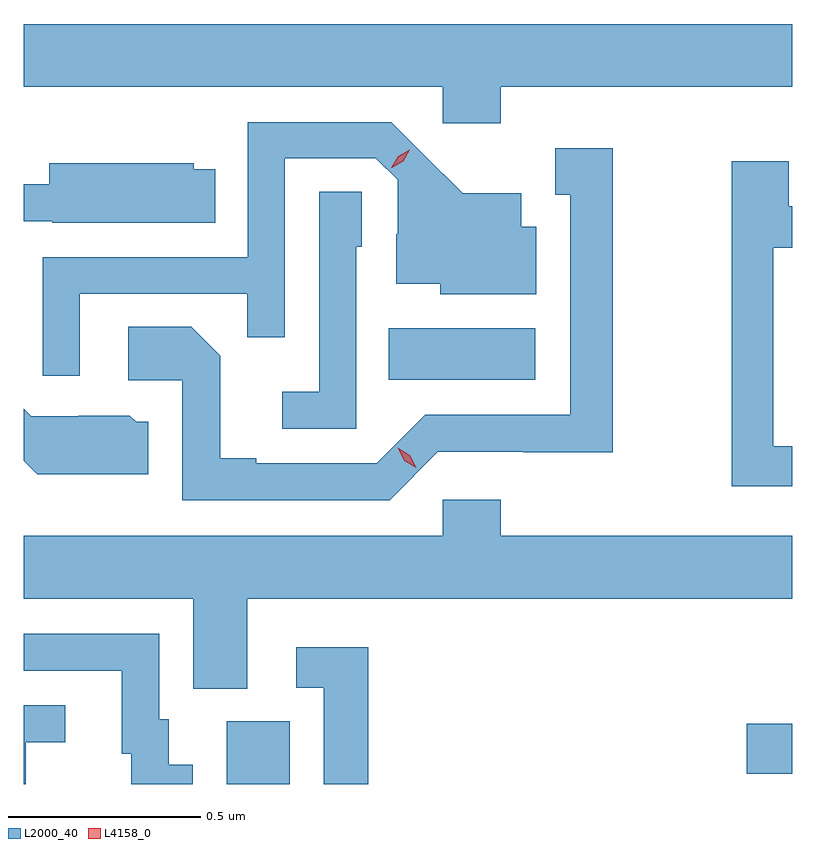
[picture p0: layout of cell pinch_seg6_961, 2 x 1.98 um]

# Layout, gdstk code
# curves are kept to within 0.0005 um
import gdstk
lib = gdstk.Library(unit=1e-6, precision=1e-09)
def R(c, l, rs):  # rectangles x0, y0, x1, y1
    for r in rs: c.add(gdstk.rectangle(r[:2], r[2:], *l))
def P(c, l, *ps):  # polygons
    for p in ps: c.add(gdstk.Polygon(p, *l))
L2000_40 = (2000, 40)
L4158_0 = (4158, 0)

pinch_seg6_961 = lib.new_cell('pinch_seg6_961')
R(pinch_seg6_961, L2000_40, [(329.42,933.533,329.584,933.696), (330.774,933.56,330.892,933.69), (329.842,934.586,330.223,934.72)])
P(pinch_seg6_961, L2000_40, [(330.134,935.348),(330.892,935.348),(330.892,935.512),(328.892,935.512),(328.892,935.348),(329.982,935.348),(329.982,935.253),(330.134,935.253)],
  [(329.037,934.809),(329.473,934.809),(329.473,934.696),(329.571,934.696),(329.571,935.163),(329.808,935.163),(329.865,935.106),(329.865,934.964),(329.861,934.964),(329.861,934.835),(329.976,934.835),(329.976,934.808),(330.226,934.808),(330.226,934.984),(330.187,934.984),(330.187,935.071),(330.035,935.071),(329.848,935.256),(329.475,935.256),(329.475,934.905),(328.941,934.905),(328.941,934.596),(329.037,934.596)],
  [(329.97,934.398),(330.192,934.398),(330.192,934.397),(330.425,934.397),(330.425,935.188),(330.275,935.188),(330.275,935.067),(330.314,935.067),(330.314,934.494),(329.937,934.494),(329.811,934.368),(329.497,934.368),(329.497,934.381),(329.403,934.381),(329.403,934.648),(329.327,934.724),(329.163,934.724),(329.163,934.584),(329.304,934.584),(329.304,934.272),(329.844,934.272)],
  [(330.892,934.413),(330.843,934.413),(330.843,934.929),(330.892,934.929),(330.892,935.038),(330.883,935.038),(330.883,935.155),(330.735,935.155),(330.735,934.308),(330.892,934.308)],
  [(329.39,935.134),(329.334,935.134),(329.334,935.149),(328.958,935.149),(328.958,935.095),(328.892,935.095),(328.892,934.998),(328.966,934.998),(328.966,934.994),(329.39,934.994)],
  [(329.757,934.932),(329.772,934.932),(329.772,935.075),(329.661,935.075),(329.661,934.555),(329.565,934.555),(329.565,934.458),(329.757,934.458)],
  [(329.215,934.476),(329.184,934.476),(329.168,934.492),(329.034,934.492),(329.034,934.491),(328.911,934.491),(328.892,934.51),(328.892,934.375),(328.927,934.34),(329.215,934.34)],
  [(329.473,934.016),(330.892,934.016),(330.892,934.18),(330.134,934.18),(330.134,934.273),(329.982,934.273),(329.982,934.18),(328.892,934.18),(328.892,934.016),(329.333,934.016),(329.333,933.781),(329.473,933.781)],
  [(329.332,933.583),(329.269,933.583),(329.269,933.702),(329.244,933.702),(329.244,933.924),(328.892,933.924),(328.892,933.828),(329.147,933.828),(329.147,933.612),(329.171,933.612),(329.171,933.533),(329.332,933.533)],
  [(329.789,933.889),(329.601,933.889),(329.601,933.783),(329.673,933.783),(329.673,933.533),(329.789,933.533)],
  [(328.896,933.642),(328.999,933.642),(328.999,933.738),(328.892,933.738),(328.892,933.533),(328.896,933.533)])
P(pinch_seg6_961, L4158_0, [(329.913,934.356),(329.882,934.375),(329.865,934.408),(329.865,934.408),(329.865,934.408),(329.897,934.389),(329.914,934.356),(329.914,934.356)],
  [(329.849,935.138),(329.849,935.138),(329.866,935.168),(329.896,935.184),(329.896,935.184),(329.896,935.184),(329.88,935.154),(329.85,935.138)])

lib.write_gds('pinch_seg6_961.gds')
